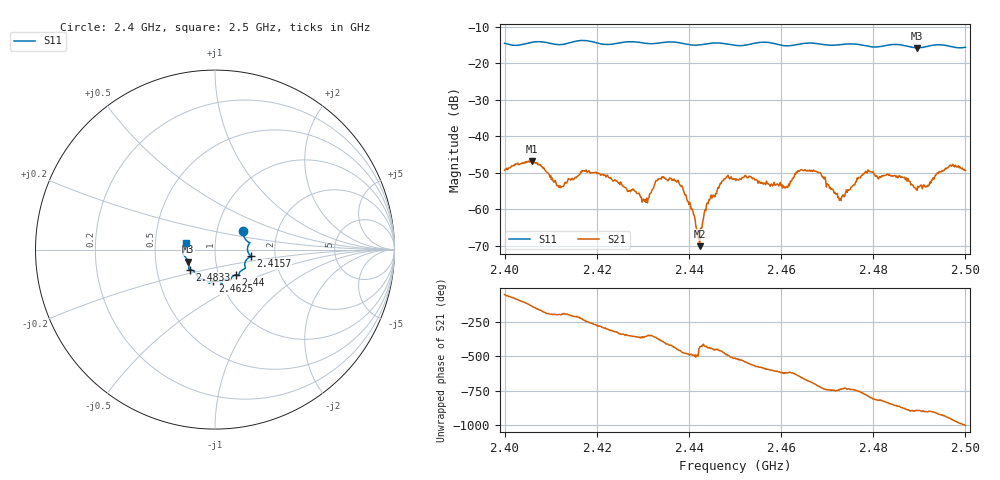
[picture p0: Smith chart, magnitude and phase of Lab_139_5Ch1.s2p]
# Hz S RI R 50
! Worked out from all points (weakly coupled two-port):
!   601 points, 2.4 GHz to 2.5 GHz, reference 50 ohm
!   highest |S21| = -46.72 dB at 2.406 GHz (marker M1); lowest = -70.1 dB at 2.4423 GHz (marker M2)
!   lowest |S11| = -15.7 dB at 2.4895 GHz (marker M3), VSWR 1.39, Z = 36.7 - j5.1 ohm
!   |S11| at or under -10 dB: start of sweep to end of sweep
!   S12 and S22 are empty: the file has one direction only
!   S11 on the Smith chart (normalised r, x): 2.4 GHz: 1.33, +0.29; 2.4157 GHz: 1.49, -0.12; 2.44 GHz: 1.21, -0.35; 2.4625 GHz: 0.92, -0.34; 2.4833 GHz: 0.74, -0.17; 2.5 GHz: 0.72, +0.06
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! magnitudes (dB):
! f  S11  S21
! 2.4 GHz  -14.5  -49.3
! 2.406 GHz  -14.2  -46.7
! 2.4118 GHz  -14.9  -54.0
! 2.4157 GHz  -13.9  -51.0
! 2.4167 GHz  -13.7  -49.9
! 2.4305 GHz  -14.5  -57.3
! 2.4333 GHz  -14.4  -51.6
! 2.4373 GHz  -14.2  -52.5
! 2.44 GHz  -14.8  -58.6
! 2.4423 GHz  -14.9  -70.1
! 2.4443 GHz  -14.5  -57.3
! 2.448 GHz  -14.6  -51.4
! 2.45 GHz  -15.0  -51.6
! 2.4608 GHz  -15.2  -54.1
! 2.4625 GHz  -15.0  -51.4
! 2.4667 GHz  -14.4  -49.5
! 2.4728 GHz  -14.9  -57.0
! 2.4785 GHz  -15.2  -49.7
! 2.4833 GHz  -15.0  -50.7
! 2.4895 GHz  -15.7  -54.7
! 2.4968 GHz  -15.3  -48.0
! 2.5 GHz  -15.6  -49.3
